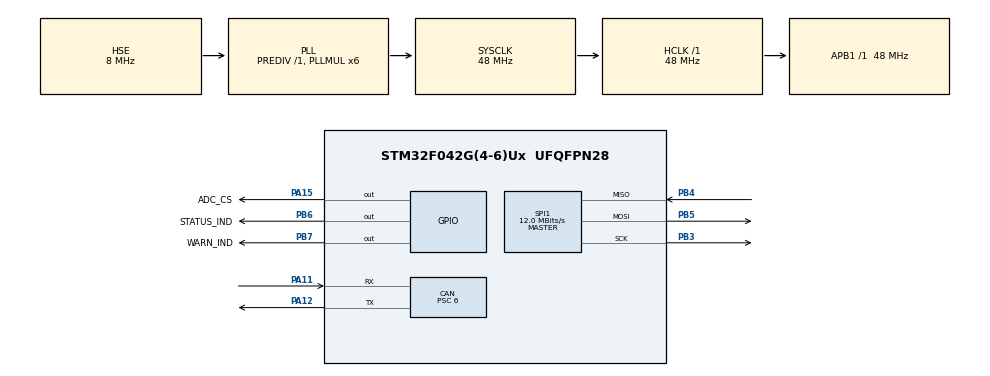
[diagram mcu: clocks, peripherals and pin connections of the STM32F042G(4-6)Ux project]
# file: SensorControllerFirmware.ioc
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CAN.BS1=CAN_BS1_13TQ
CAN.BS2=CAN_BS2_2TQ
CAN.CalculateBaudRate=500000
CAN.CalculateTimeBit=2000
CAN.CalculateTimeQuantum=125.0
CAN.Prescaler=6
Dma.Request0=SPI1_RX
Dma.Request1=SPI1_TX
Dma.SPI1_RX.0.Direction=DMA_PERIPH_TO_MEMORY
Dma.SPI1_RX.0.Instance=DMA1_Channel2
Dma.SPI1_RX.0.MemDataAlignment=DMA_MDATAALIGN_HALFWORD
Dma.SPI1_RX.0.MemInc=DMA_MINC_ENABLE
Dma.SPI1_RX.0.Mode=DMA_NORMAL
Dma.SPI1_RX.0.PeriphDataAlignment=DMA_PDATAALIGN_HALFWORD
Dma.SPI1_RX.0.PeriphInc=DMA_PINC_DISABLE
Dma.SPI1_RX.0.Priority=DMA_PRIORITY_LOW
Dma.SPI1_TX.1.Direction=DMA_MEMORY_TO_PERIPH
Dma.SPI1_TX.1.Instance=DMA1_Channel3
Dma.SPI1_TX.1.MemDataAlignment=DMA_MDATAALIGN_HALFWORD
Dma.SPI1_TX.1.MemInc=DMA_MINC_ENABLE
Dma.SPI1_TX.1.Mode=DMA_NORMAL
Dma.SPI1_TX.1.PeriphDataAlignment=DMA_PDATAALIGN_HALFWORD
Dma.SPI1_TX.1.PeriphInc=DMA_PINC_DISABLE
Dma.SPI1_TX.1.Priority=DMA_PRIORITY_LOW
Mcu.Family=STM32F0
Mcu.Name=STM32F042G(4-6)Ux
Mcu.Package=UFQFPN28
NVIC.CEC_CAN_IRQn=true\:1\:0\:true\:false\:true\:true\:true\:true
NVIC.DMA1_Channel2_3_IRQn=true\:0\:0\:true\:false\:true\:false\:true\:true
NVIC.SPI1_IRQn=true\:0\:0\:true\:false\:true\:true\:true\:true
NVIC.TIM14_IRQn=true\:3\:0\:true\:false\:true\:true\:true\:true
PA11.Mode=CAN_Activate
PA11.Signal=CAN_RX
PA12.Mode=CAN_Activate
PA12.Signal=CAN_TX
PA13.Mode=Serial_Wire
PA13.Signal=SYS_SWDIO
PA14.Mode=Serial_Wire
PA14.Signal=SYS_SWCLK
PA15.GPIO_Label=ADC_CS
PA15.GPIO_Speed=GPIO_SPEED_FREQ_HIGH
PA15.PinState=GPIO_PIN_SET
PA15.Signal=GPIO_Output
PB3.Mode=Full_Duplex_Master
PB3.Signal=SPI1_SCK
PB4.Mode=Full_Duplex_Master
PB4.Signal=SPI1_MISO
PB5.Mode=Full_Duplex_Master
PB5.Signal=SPI1_MOSI
PB6.GPIO_Label=STATUS_IND
PB6.Signal=GPIO_Output
PB7.GPIO_Label=WARN_IND
PB7.Signal=GPIO_Output
PF0-OSC_IN.Mode=HSE-External-Oscillator
PF0-OSC_IN.Signal=RCC_OSC_IN
PF1-OSC_OUT.Mode=HSE-External-Oscillator
PF1-OSC_OUT.Signal=RCC_OSC_OUT
ProjectManager.HeapSize=0x400
ProjectManager.StackSize=0x800
ProjectManager.TargetToolchain=STM32CubeIDE
RCC.AHBFreq_Value=48000000
RCC.APB1Freq_Value=48000000
RCC.APB1TimFreq_Value=48000000
RCC.HCLKFreq_Value=48000000
RCC.PLLMUL=RCC_PLL_MUL6
RCC.PLLSourceVirtual=RCC_PLLSOURCE_HSE
RCC.SYSCLKFreq_VALUE=48000000
RCC.SYSCLKSource=RCC_SYSCLKSOURCE_PLLCLK
SPI1.BaudRatePrescaler=SPI_BAUDRATEPRESCALER_4
SPI1.CLKPhase=SPI_PHASE_2EDGE
SPI1.CalculateBaudRate=12.0 MBits/s
SPI1.DataSize=SPI_DATASIZE_16BIT
SPI1.Direction=SPI_DIRECTION_2LINES
SPI1.Mode=SPI_MODE_MASTER
SPI1.TIMode=SPI_TIMODE_DISABLE
SPI1.VirtualType=VM_MASTER
TIM14.Period=47999
TIM14.Prescaler=99
VP_ADC_TempSens_Input.Mode=IN-TempSens
VP_SYS_VS_PINREMAP.Mode=PINREMAP
VP_TIM14_VS_ClockSourceINT.Mode=Enable_Timer
board=custom

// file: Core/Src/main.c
/* USER CODE BEGIN Header */
/**
  ******************************************************************************
  * @file           : main.c
  * @brief          : Main program body
  ******************************************************************************
  * @attention
  *
  * Copyright (c) 2024 STMicroelectronics.
  * All rights reserved.
  *
  * This software is licensed under terms that can be found in the LICENSE file
  * in the root directory of this software component.
  * If no LICENSE file comes with this software, it is provided AS-IS.
  *
  ******************************************************************************
  */
/* USER CODE END Header */
#include "main.h"

/* USER CODE BEGIN Includes */
#include "conversions.h"
#include "ADS1118.h"
#include <memory.h>
/* USER CODE END Includes */

/* USER CODE BEGIN PTD */
typedef struct {
  Ads1118TypeDef adc;
  PT_Config pt;
  LC_Config lc;
  CONVERSION_MODE conv_mode;
  float cjc;
} SensorController;
/* USER CODE END PTD */

/* USER CODE BEGIN PD */
#define CAN_TX_ID 0x442
#define PID_LABEL 01
#define SENSOR_A_LABEL 1
#define SENSOR_B_LABEL 2

#define EXCITATION 5 // Sensor excitation voltage
/* USER CODE END PD */

ADC_HandleTypeDef hadc;

CAN_HandleTypeDef hcan;

SPI_HandleTypeDef hspi1;
DMA_HandleTypeDef hdma_spi1_rx;
DMA_HandleTypeDef hdma_spi1_tx;

TIM_HandleTypeDef htim14;

/* USER CODE BEGIN PV */
uint8_t start_read_adc = 0;
uint8_t adc_read_cplt = 0;

SensorController controller = {
  .pt = { 1000, 0, 4.5f, 0.5f },
  .lc = { 100, 0.002f, EXCITATION },
  .conv_mode = MODE_TEMPERATURE
};

uint32_t pt_config = (ADS1118_CONFIG_DEFAULT           |
               (0b111 << ADS1118_CONFIG_BIT_MUX) |
               (1 << ADS1118_CONFIG_BIT_SS)      |
               (0b000 << ADS1118_CONFIG_BIT_PGA) ) & 0xFBFF;
uint32_t tc_config = (ADS1118_CONFIG_DEFAULT           |
                      (1 << ADS1118_CONFIG_BIT_SS)      |
                      (0b011 << ADS1118_CONFIG_BIT_MUX) |
                      (0b111 << ADS1118_CONFIG_BIT_PGA) );
uint32_t cjc_config = (ADS1118_CONFIG_DEFAULT           |
                       (1 << ADS1118_CONFIG_BIT_SS)      |
                       (ADS1118_TS_MODE_TEMPERATURE << ADS1118_CONFIG_BIT_TS_MODE) );

/* USER CODE END PV */

void SystemClock_Config(void);
static void MX_GPIO_Init(void);
static void MX_DMA_Init(void);
static void MX_CAN_Init(void);
static void MX_SPI1_Init(void);
static void MX_TIM14_Init(void);
static void MX_ADC_Init(void);

int main(void)
{

  /* MCU Configuration--------------------------------------------------------*/

  /* Reset of all peripherals, Initializes the Flash interface and the Systick. */
  HAL_Init();

  /* Configure the system clock */
  SystemClock_Config();

  /* Initialize all configured peripherals */
  MX_GPIO_Init();
  MX_DMA_Init();
  MX_CAN_Init();
  MX_SPI1_Init();
  MX_TIM14_Init();
  MX_ADC_Init();
  /* USER CODE BEGIN 2 */
  CAN_FilterTypeDef filter;
  filter.FilterMaskIdHigh = 0x0;
  filter.FilterMaskIdLow = 0x0;
  filter.FilterMode = CAN_FILTERMODE_IDMASK;
  filter.FilterBank = 0;
  filter.FilterScale = CAN_FILTERSCALE_32BIT;
  filter.FilterFIFOAssignment = CAN_FILTER_FIFO0;
  filter.FilterActivation = CAN_FILTER_ENABLE;
  if (HAL_CAN_ConfigFilter(&hcan, &filter) != HAL_OK) {
      Error_Handler();
  }

  if (HAL_CAN_ActivateNotification(&hcan, CAN_IT_RX_FIFO0_MSG_PENDING)) {
    Error_Handler();
  };

  if (HAL_CAN_Start(&hcan) != HAL_OK) {
      Error_Handler();
  }

  // Configure ADC
  controller.adc.hspi = &hspi1;
  controller.adc.cs_gpio_port = ADC_CS_GPIO_Port;
  controller.adc.cs_pin = ADC_CS_Pin;

  controller.adc.config = cjc_config;
  if (Ads1118_Configure(&controller.adc) != HAL_OK) {
    Error_Handler();
  }

  // Start peripherals
  HAL_ADC_Start(&hadc);
  HAL_TIM_Base_Start_IT(&htim14);
  /* USER CODE END 2 */

  /* Infinite loop */
  /* USER CODE BEGIN WHILE */
  int16_t buf[] = { 0, 0 };

  while (1)
  {
      if (adc_read_cplt && (!HAL_GPIO_ReadPin(GPIOB, GPIO_PIN_4))) {
    	  // Update ADC config readback
    	  controller.adc.config_readback = buf[1];
        float voltage = Ads1118_output_code_to_voltage(&controller.adc, buf[0]);
        float res = 0.0f;

        switch(controller.conv_mode) {
          case(MODE_VOLTAGE): {
              res = voltage;
              const uint8_t packet_size = 8;
              uint8_t packet[packet_size];
              create_float_packet(PID_LABEL, TELEMETRY_PACKET, VOLTAGE_TELEMETRY, res, packet);
              send_can_msg(packet, packet_size);
          } break;

          case(MODE_PRESSURE): {
              res = convert_pressure(voltage, &controller.pt);
              const uint8_t packet_size = 8;
              uint8_t packet[packet_size];
              create_float_packet(PID_LABEL, TELEMETRY_PACKET, PRESSURE_TELEMETRY, res, packet);
              send_can_msg(packet, packet_size);
          } break;

          case(MODE_PRESSURE_CALIBRATED): {
              res = convert_pressure_calibrated(voltage, &controller.pt);
              const uint8_t packet_size = 8;
              uint8_t packet[packet_size];
              create_float_packet(PID_LABEL, TELEMETRY_PACKET, PRESSURE_TELEMETRY, res, packet);
              send_can_msg(packet, packet_size);
          } break;

          case (MODE_TEMPERATURE): {
            if (controller.adc.config_readback & (0b1 << ADS1118_CONFIG_BIT_TS_MODE)) {
              controller.cjc = temperature_code_to_temperature((int16_t)(buf[0]>>2));
              controller.cjc *= ( (4.096f/1000) / 100 );

              controller.adc.config = tc_config;
              Ads1118_Configure(&controller.adc);
            } else {
              res = convert_thermocouple_K(voltage+controller.cjc);
              uint8_t packet[8];

              create_float_packet(PID_LABEL, TELEMETRY_PACKET, TEMPERATURE_TELEMETRY, res, packet);
              send_can_msg(packet, 8);

              controller.adc.config = cjc_config;
              Ads1118_Configure(&controller.adc);
            }
          } break;

          case (MODE_WEIGHT): {
            res = convert_weight(voltage, &controller.lc);
            uint8_t packet[8];
            create_float_packet(PID_LABEL, TELEMETRY_PACKET, WEIGHT_TELEMETRY, res, packet);
            send_can_msg(packet, 8);
          } break;
        }

        adc_read_cplt = 0;
        HAL_GPIO_WritePin(STATUS_IND_GPIO_Port, STATUS_IND_Pin, GPIO_PIN_RESET);
      }

      if (start_read_adc) {
    	  // Start new single shot
        if (Ads1118_Transmit(&controller.adc, (uint32_t*)&buf) != HAL_OK) {
          Error_Handler();
        }

         start_read_adc = 0;
      }
    /* USER CODE END WHILE */

  }
}

void SystemClock_Config(void)
{
  RCC_OscInitTypeDef RCC_OscInitStruct = {0};
  RCC_ClkInitTypeDef RCC_ClkInitStruct = {0};

  /** Initializes the RCC Oscillators according to the specified parameters
  * in the RCC_OscInitTypeDef structure.
  */
  RCC_OscInitStruct.OscillatorType = RCC_OSCILLATORTYPE_HSI14|RCC_OSCILLATORTYPE_HSE;
  RCC_OscInitStruct.HSEState = RCC_HSE_ON;
  RCC_OscInitStruct.HSI14State = RCC_HSI14_ON;
  RCC_OscInitStruct.HSI14CalibrationValue = 16;
  RCC_OscInitStruct.PLL.PLLState = RCC_PLL_ON;
  RCC_OscInitStruct.PLL.PLLSource = RCC_PLLSOURCE_HSE;
  RCC_OscInitStruct.PLL.PLLMUL = RCC_PLL_MUL6;
  RCC_OscInitStruct.PLL.PREDIV = RCC_PREDIV_DIV1;
  if (HAL_RCC_OscConfig(&RCC_OscInitStruct) != HAL_OK)
  {
    Error_Handler();
  }

  /** Initializes the CPU, AHB and APB buses clocks
  */
  RCC_ClkInitStruct.ClockType = RCC_CLOCKTYPE_HCLK|RCC_CLOCKTYPE_SYSCLK
                              |RCC_CLOCKTYPE_PCLK1;
  RCC_ClkInitStruct.SYSCLKSource = RCC_SYSCLKSOURCE_PLLCLK;
  RCC_ClkInitStruct.AHBCLKDivider = RCC_SYSCLK_DIV1;
  RCC_ClkInitStruct.APB1CLKDivider = RCC_HCLK_DIV1;

  if (HAL_RCC_ClockConfig(&RCC_ClkInitStruct, FLASH_LATENCY_1) != HAL_OK)
  {
    Error_Handler();
  }
}

static void MX_ADC_Init(void)
{

  ADC_ChannelConfTypeDef sConfig = {0};

  /** Configure the global features of the ADC (Clock, Resolution, Data Alignment and number of conversion)
  */
  hadc.Instance = ADC1;
  hadc.Init.ClockPrescaler = ADC_CLOCK_ASYNC_DIV1;
  hadc.Init.Resolution = ADC_RESOLUTION_12B;
  hadc.Init.DataAlign = ADC_DATAALIGN_RIGHT;
  hadc.Init.ScanConvMode = ADC_SCAN_DIRECTION_FORWARD;
  hadc.Init.EOCSelection = ADC_EOC_SINGLE_CONV;
  hadc.Init.LowPowerAutoWait = DISABLE;
  hadc.Init.LowPowerAutoPowerOff = DISABLE;
  hadc.Init.ContinuousConvMode = DISABLE;
  hadc.Init.DiscontinuousConvMode = DISABLE;
  hadc.Init.ExternalTrigConv = ADC_SOFTWARE_START;
  hadc.Init.ExternalTrigConvEdge = ADC_EXTERNALTRIGCONVEDGE_NONE;
  hadc.Init.DMAContinuousRequests = DISABLE;
  hadc.Init.Overrun = ADC_OVR_DATA_PRESERVED;
  if (HAL_ADC_Init(&hadc) != HAL_OK)
  {
    Error_Handler();
  }

  /** Configure for the selected ADC regular channel to be converted.
  */
  sConfig.Channel = ADC_CHANNEL_TEMPSENSOR;
  sConfig.Rank = ADC_RANK_CHANNEL_NUMBER;
  sConfig.SamplingTime = ADC_SAMPLETIME_1CYCLE_5;
  if (HAL_ADC_ConfigChannel(&hadc, &sConfig) != HAL_OK)
  {
    Error_Handler();
  }

}

static void MX_CAN_Init(void)
{

  hcan.Instance = CAN;
  hcan.Init.Prescaler = 6;
  hcan.Init.Mode = CAN_MODE_NORMAL;
  hcan.Init.SyncJumpWidth = CAN_SJW_1TQ;
  hcan.Init.TimeSeg1 = CAN_BS1_13TQ;
  hcan.Init.TimeSeg2 = CAN_BS2_2TQ;
  hcan.Init.TimeTriggeredMode = DISABLE;
  hcan.Init.AutoBusOff = DISABLE;
  hcan.Init.AutoWakeUp = DISABLE;
  hcan.Init.AutoRetransmission = DISABLE;
  hcan.Init.ReceiveFifoLocked = DISABLE;
  hcan.Init.TransmitFifoPriority = DISABLE;
  if (HAL_CAN_Init(&hcan) != HAL_OK)
  {
    Error_Handler();
  }

}

static void MX_SPI1_Init(void)
{

  /* SPI1 parameter configuration*/
  hspi1.Instance = SPI1;
  hspi1.Init.Mode = SPI_MODE_MASTER;
  hspi1.Init.Direction = SPI_DIRECTION_2LINES;
  hspi1.Init.DataSize = SPI_DATASIZE_16BIT;
  hspi1.Init.CLKPolarity = SPI_POLARITY_LOW;
  hspi1.Init.CLKPhase = SPI_PHASE_2EDGE;
  hspi1.Init.NSS = SPI_NSS_SOFT;
  hspi1.Init.BaudRatePrescaler = SPI_BAUDRATEPRESCALER_4;
  hspi1.Init.FirstBit = SPI_FIRSTBIT_MSB;
  hspi1.Init.TIMode = SPI_TIMODE_DISABLE;
  hspi1.Init.CRCCalculation = SPI_CRCCALCULATION_DISABLE;
  hspi1.Init.CRCPolynomial = 7;
  hspi1.Init.CRCLength = SPI_CRC_LENGTH_DATASIZE;
  hspi1.Init.NSSPMode = SPI_NSS_PULSE_DISABLE;
  if (HAL_SPI_Init(&hspi1) != HAL_OK)
  {
    Error_Handler();
  }

}

static void MX_TIM14_Init(void)
{

  htim14.Instance = TIM14;
  htim14.Init.Prescaler = 99;
  htim14.Init.CounterMode = TIM_COUNTERMODE_UP;
  htim14.Init.Period = 47999;
  htim14.Init.ClockDivision = TIM_CLOCKDIVISION_DIV1;
  htim14.Init.AutoReloadPreload = TIM_AUTORELOAD_PRELOAD_DISABLE;
  if (HAL_TIM_Base_Init(&htim14) != HAL_OK)
  {
    Error_Handler();
  }

}

static void MX_DMA_Init(void)
{

  /* DMA controller clock enable */
  __HAL_RCC_DMA1_CLK_ENABLE();

  /* DMA interrupt init */
  /* DMA1_Channel2_3_IRQn interrupt configuration */
  HAL_NVIC_SetPriority(DMA1_Channel2_3_IRQn, 0, 0);
  HAL_NVIC_EnableIRQ(DMA1_Channel2_3_IRQn);

}

static void MX_GPIO_Init(void)
{
  GPIO_InitTypeDef GPIO_InitStruct = {0};

  /* GPIO Ports Clock Enable */
  __HAL_RCC_GPIOF_CLK_ENABLE();
  __HAL_RCC_GPIOA_CLK_ENABLE();
  __HAL_RCC_GPIOB_CLK_ENABLE();

  /*Configure GPIO pin Output Level */
  HAL_GPIO_WritePin(ADC_CS_GPIO_Port, ADC_CS_Pin, GPIO_PIN_SET);

  /*Configure GPIO pin Output Level */
  HAL_GPIO_WritePin(GPIOB, STATUS_IND_Pin|WARN_IND_Pin, GPIO_PIN_RESET);

  /*Configure GPIO pin : ADC_CS_Pin */
  GPIO_InitStruct.Pin = ADC_CS_Pin;
  GPIO_InitStruct.Mode = GPIO_MODE_OUTPUT_PP;
  GPIO_InitStruct.Pull = GPIO_NOPULL;
  GPIO_InitStruct.Speed = GPIO_SPEED_FREQ_HIGH;
  HAL_GPIO_Init(ADC_CS_GPIO_Port, &GPIO_InitStruct);

  /*Configure GPIO pins : STATUS_IND_Pin WARN_IND_Pin */
  GPIO_InitStruct.Pin = STATUS_IND_Pin|WARN_IND_Pin;
  GPIO_InitStruct.Mode = GPIO_MODE_OUTPUT_PP;
  GPIO_InitStruct.Pull = GPIO_NOPULL;
  GPIO_InitStruct.Speed = GPIO_SPEED_FREQ_LOW;
  HAL_GPIO_Init(GPIOB, &GPIO_InitStruct);

}

/* USER CODE BEGIN 4 */
float temperature_code_to_temperature(int16_t temperature_code) {
    if (temperature_code & (1 << 14)) {
        temperature_code -= 1;
        temperature_code = ~temperature_code;
    }
    return temperature_code * 0.03125f;
}

HAL_StatusTypeDef send_can_msg(const uint8_t *data, size_t len) {
    CAN_TxHeaderTypeDef header;
    header.IDE = CAN_ID_STD;
    header.StdId = CAN_TX_ID;
    header.RTR = CAN_RTR_DATA;
    header.TransmitGlobalTime = DISABLE;
    header.DLC = len;

    uint32_t mailbox;

    HAL_StatusTypeDef status = HAL_CAN_AddTxMessage(&hcan, &header, data, &mailbox);
    if (status != HAL_OK) {

    }

    return status;
}

void HAL_CAN_RxFifo0MsgPendingCallback(CAN_HandleTypeDef *hcan) {
    CAN_RxHeaderTypeDef header;
    uint8_t data[64];
    if (HAL_CAN_GetRxMessage(hcan, CAN_RX_FIFO0, &header, data) != HAL_OK) {
        Error_Handler();
    }

    uint8_t packet_type = data[0];
    if (packet_type == COMMAND_PACKET) {
      uint8_t cmd_type = data[1],
              label = data[2];

      if (label != PID_LABEL) return;

      switch (cmd_type) {
        case MODE_COMMAND: {
          CONVERSION_MODE mode = data[3];
          switch (mode) {
            case MODE_VOLTAGE: {
            } break;

            case MODE_PRESSURE:
            case MODE_PRESSURE_CALIBRATED: {
              controller.adc.config = pt_config;
            } break;

            case MODE_TEMPERATURE: {
              controller.adc.config = cjc_config;
            } break;

            case MODE_WEIGHT: {
            } break;
          }
          controller.conv_mode = mode;
        }

        case PT_CALIBRATION_COMMAND: {
          uint8_t pt_id = data[3];
          switch (pt_id) {
            case 1: {
              controller.pt.m = 263.1578f;
              controller.pt.b = -150.3421f;
            } break;
            case 2: {
              controller.pt.m = 263.1578f;
              controller.pt.b = -146.1052f;
            } break;
            case 3: {
              controller.pt.m = 256.4102f;
              controller.pt.b = -142.0256f;
            } break;
            case 4: {
              controller.pt.m = 277.7777f;
              controller.pt.b = -152.6388f;
            } break;
            case 5: {
              controller.pt.m = 277.7777f;
              controller.pt.b = -136.4166f;
            } break;
          }
        } break;

        case LED_COMMAND: {
          uint8_t state = data[3];
          if (state == 2) {
            HAL_GPIO_TogglePin(STATUS_IND_GPIO_Port, STATUS_IND_Pin);
          } else {
            HAL_GPIO_WritePin(STATUS_IND_GPIO_Port, STATUS_IND_Pin, state);
          }
        }
          break;
      }
    }
}

void HAL_SPI_TxRxCpltCallback(SPI_HandleTypeDef *hspi) {
	adc_read_cplt = 1;
}

void HAL_TIM_PeriodElapsedCallback(TIM_HandleTypeDef *htim) {
  start_read_adc = 1;
  HAL_GPIO_WritePin(STATUS_IND_GPIO_Port, STATUS_IND_Pin, GPIO_PIN_SET);
}

void create_float_packet(uint8_t label, PACKET_TYPE packet_type, TELEMETRY_TYPE telemetry_type, float value, uint8_t* buf) {
    buf[0] = packet_type;
    buf[1] = PID_LABEL;
    buf[2] = SENSOR_B_LABEL; // TODO
    buf[3] = telemetry_type;
    memcpy(buf+4,&value, sizeof(value));
}
/* USER CODE END 4 */

void Error_Handler(void)
{
  /* USER CODE BEGIN Error_Handler_Debug */
  /* User can add his own implementation to report the HAL error return state */
//  __disable_irq();
  while (1)
  {
	  HAL_GPIO_TogglePin(WARN_IND_GPIO_Port, WARN_IND_Pin);
	  HAL_Delay(100);
  }
  /* USER CODE END Error_Handler_Debug */
}
